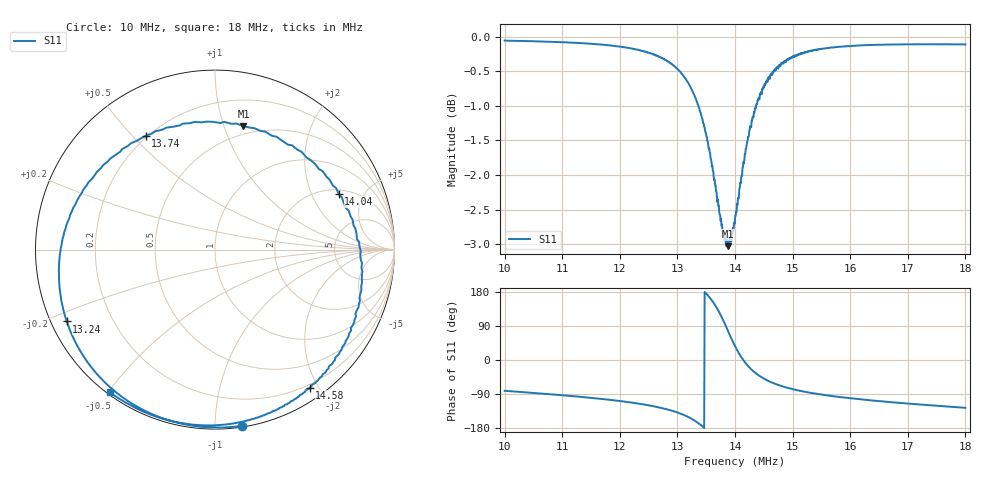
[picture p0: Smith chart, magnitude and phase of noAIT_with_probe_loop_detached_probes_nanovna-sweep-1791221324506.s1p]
! NanoVNA Web complex sweep
! Processing: unaveraged complex samples; linear segment spacing; no smoothing
# Hz S RI R 50
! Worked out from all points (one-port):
!   1010 points, 10 MHz to 18 MHz, reference 50 ohm
!   lowest |S11| = -3.0 dB at 13.88 MHz (marker M1), VSWR 5.79, Z = 21.2 + j58.2 ohm
!   |S11| at or under -10 dB: nowhere
!   S11 on the Smith chart (normalised r, x): 10 MHz: 0.01, -1.16; 13.24 MHz: 0.05, -0.23; 13.74 MHz: 0.19, +0.55; 14.04 MHz: 2.23, +3.22; 14.58 MHz: 0.16, -1.89; 18 MHz: 0.01, -0.51
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1e7  0.1504 -0.9819
1.100698e7  -0.0525 -0.9891
1.200604e7  -0.3088 -0.9335
1.260071e7  -0.5216 -0.8184
1.282272e7  -0.6205 -0.7322
1.300509e7  -0.7129 -0.6237
1.323503e7  -0.826 -0.4004
1.340947e7  -0.87 -0.1231
1.353633e7  -0.819 0.158
1.363941e7  -0.6681 0.417
1.374249e7  -0.3859 0.6349
1.381385e7  -0.1149 0.7111
1.387728e7  0.1581 0.6877
1.393278e7  0.3751 0.6061
1.400414e7  0.5995 0.4376
1.404379e7  0.6893 0.31
1.410722e7  0.783 0.1148
1.416272e7  0.8126 -0.0578
1.422616e7  0.816 -0.2247
1.430545e7  0.7752 -0.4059
1.443231e7  0.6695 -0.6141
1.458296e7  0.528 -0.7686
1.477326e7  0.3714 -0.8788
1.50032e7  0.2159 -0.9419
1.543929e7  0.00186 -0.9791
1.600225e7  -0.1867 -0.966
1.700131e7  -0.417 -0.8947
1.800036e7  -0.5835 -0.796
